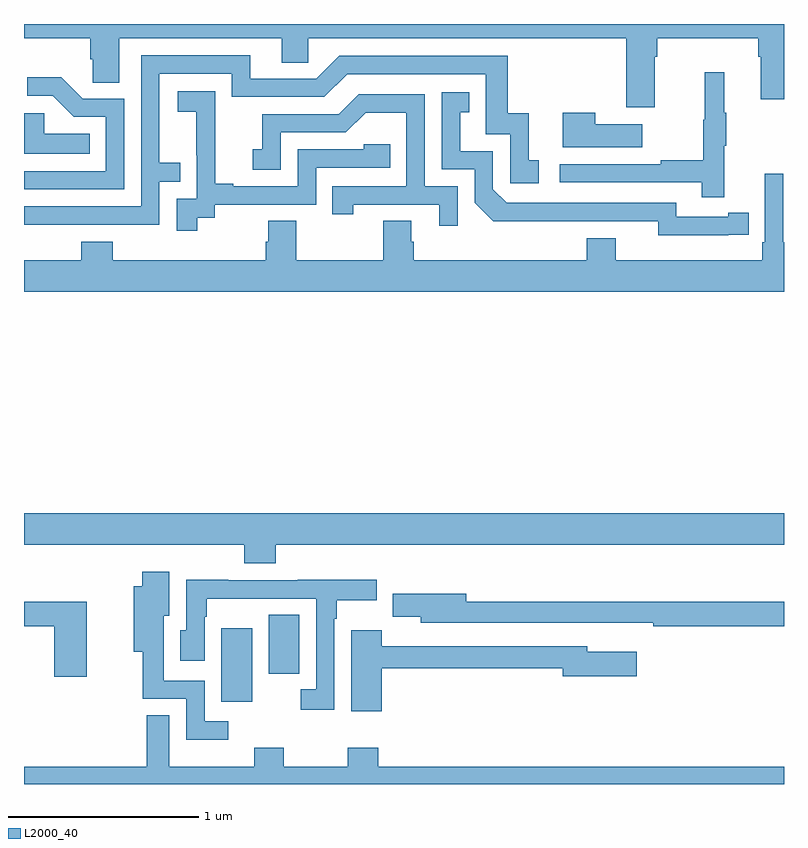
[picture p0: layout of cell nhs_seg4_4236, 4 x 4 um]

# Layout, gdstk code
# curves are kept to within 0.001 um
import gdstk
lib = gdstk.Library(unit=1e-6, precision=1e-09)
def R(c, l, rs):  # rectangles x0, y0, x1, y1
    for r in rs: c.add(gdstk.rectangle(r[:2], r[2:], *l))
def P(c, l, *ps):  # polygons
    for p in ps: c.add(gdstk.Polygon(p, *l))
L2000_40 = (2000, 40)

nhs_seg4_4236 = lib.new_cell('nhs_seg4_4236')
R(nhs_seg4_4236, L2000_40, [(338.039,789.332,338.2,789.721), (338.288,789.48,338.449,789.791)])
P(nhs_seg4_4236, L2000_40, [(340.321,792.728),(340.334,792.728),(340.334,792.824),(340.865,792.824),(340.865,792.728),(340.877,792.728),(340.877,792.504),(341,792.504),(341,792.9),(337,792.9),(337,792.824),(337.349,792.824),(337.349,792.715),(337.362,792.715),(337.362,792.592),(337.501,792.592),(337.501,792.824),(338.357,792.824),(338.357,792.697),(338.496,792.697),(338.496,792.824),(340.169,792.824),(340.169,792.462),(340.321,792.462)],
  [(337.217,791.844),(337.713,791.844),(337.713,792.069),(337.823,792.069),(337.823,792.17),(337.713,792.17),(337.713,792.639),(338.094,792.639),(338.094,792.516),(338.58,792.516),(338.7,792.636),(339.429,792.636),(339.429,792.321),(339.558,792.321),(339.558,792.063),(339.709,792.063),(339.709,792.183),(339.656,792.183),(339.656,792.43),(339.545,792.43),(339.545,792.732),(338.658,792.732),(338.538,792.612),(338.191,792.612),(338.191,792.735),(337.617,792.735),(337.617,791.94),(337,791.94),(337,791.843)],
  [(340.685,792.259),(340.696,792.259),(340.696,792.433),(340.685,792.433),(340.685,792.646),(340.582,792.646),(340.582,792.396),(340.575,792.396),(340.575,792.182),(340.351,792.182),(340.351,792.162),(339.819,792.162),(339.819,792.066),(340.567,792.066),(340.567,791.988),(340.685,791.988)],
  [(337.527,792.507),(337.308,792.507),(337.195,792.62),(337.017,792.62),(337.017,792.522),(337.151,792.522),(337.262,792.411),(337.431,792.411),(337.431,792.126),(337,792.126),(337,792.03),(337.527,792.03)],
  [(337.912,791.881),(338.004,791.881),(338.004,791.949),(338.538,791.949),(338.538,792.144),(338.927,792.144),(338.927,792.267),(338.787,792.267),(338.787,792.24),(338.442,792.24),(338.442,792.045),(338.101,792.045),(338.101,792.058),(338.006,792.058),(338.006,792.341),(338.007,792.341),(338.007,792.547),(337.809,792.547),(337.809,792.437),(337.907,792.437),(337.907,792.209),(337.908,792.209),(337.908,791.979),(337.803,791.979),(337.803,791.811),(337.912,791.811)],
  [(340.706,791.79),(340.814,791.79),(340.814,791.906),(340.706,791.906),(340.706,791.886),(340.434,791.886),(340.434,791.958),(339.54,791.958),(339.468,792.03),(339.468,792.231),(339.295,792.231),(339.295,792.435),(339.344,792.435),(339.344,792.541),(339.198,792.541),(339.198,792.135),(339.372,792.135),(339.372,791.958),(339.47,791.861),(340.338,791.862),(340.338,791.789)],
  [(339.282,792.045),(339.108,792.045),(339.108,792.531),(338.762,792.531),(338.657,792.426),(338.254,792.426),(338.254,792.241),(338.205,792.241),(338.205,792.132),(338.352,792.132),(338.352,792.33),(338.694,792.33),(338.798,792.434),(339.012,792.434),(339.012,792.045),(338.623,792.045),(338.623,791.898),(338.734,791.898),(338.734,791.949),(339.185,791.949),(339.185,791.838),(339.282,791.838)],
  [(340.255,792.373),(340.007,792.373),(340.007,792.433),(339.836,792.433),(339.836,792.251),(340.255,792.251)],
  [(337.346,792.322),(337.107,792.322),(337.107,792.43),(337,792.43),(337,792.218),(337.346,792.218)],
  [(341,791.752),(340.996,791.752),(340.996,792.112),(340.899,792.112),(340.899,791.752),(340.886,791.752),(340.886,791.656),(340.114,791.656),(340.114,791.773),(339.962,791.773),(339.962,791.656),(339.05,791.656),(339.05,791.754),(339.037,791.754),(339.037,791.864),(338.89,791.864),(338.89,791.656),(338.433,791.656),(338.433,791.864),(338.285,791.864),(338.285,791.754),(338.273,791.754),(338.273,791.656),(337.466,791.656),(337.466,791.755),(337.301,791.755),(337.301,791.656),(337,791.656),(337,791.492),(341,791.492)],
  [(338.324,790.16),(341,790.16),(341,790.324),(337,790.324),(337,790.16),(338.159,790.16),(338.159,790.061),(338.324,790.061)],
  [(338.074,789.231),(337.95,789.231),(337.95,789.444),(337.735,789.444),(337.735,789.785),(337.765,789.785),(337.765,790.018),(337.622,790.018),(337.622,789.94),(337.577,789.94),(337.577,789.596),(337.624,789.596),(337.624,789.348),(337.854,789.348),(337.854,789.134),(338.074,789.134)],
  [(338.634,789.77),(338.647,789.77),(338.647,789.866),(338.857,789.866),(338.857,789.974),(338.441,789.974),(338.441,789.972),(338.075,789.972),(338.075,789.974),(337.854,789.974),(337.854,789.708),(337.823,789.708),(337.823,789.549),(337.95,789.549),(337.95,789.779),(337.963,789.779),(337.963,789.875),(338.192,789.875),(338.192,789.876),(338.538,789.876),(338.538,789.399),(338.457,789.399),(338.457,789.291),(338.634,789.291)],
  [(341,789.859),(339.328,789.859),(339.328,789.901),(338.942,789.901),(338.942,789.779),(339.089,789.779),(339.089,789.75),(340.06,789.75),(340.06,789.749),(340.312,789.749),(340.312,789.73),(341,789.73)],
  [(337.33,789.859),(337,789.859),(337,789.73),(337.16,789.73),(337.16,789.465),(337.33,789.465)],
  [(338.882,789.508),(339.836,789.508),(339.836,789.466),(340.225,789.466),(340.225,789.595),(339.964,789.595),(339.964,789.624),(338.882,789.624),(338.882,789.709),(338.723,789.709),(338.723,789.282),(338.882,789.282)],
  [(341,788.992),(338.864,788.992),(338.864,789.091),(338.704,789.091),(338.704,788.992),(338.367,788.992),(338.367,789.091),(338.212,789.091),(338.212,788.992),(337.765,788.992),(337.765,789.263),(337.647,789.263),(337.647,788.992),(337,788.992),(337,788.9),(341,788.9)])

lib.write_gds('nhs_seg4_4236.gds')
